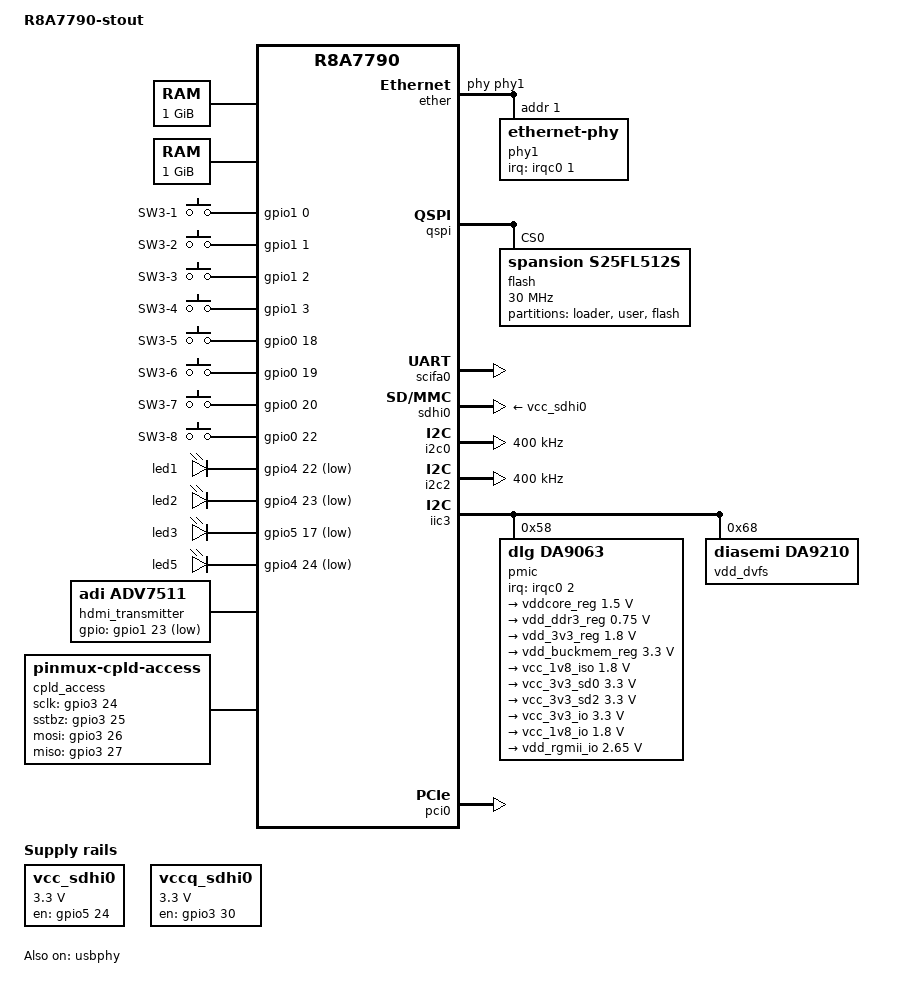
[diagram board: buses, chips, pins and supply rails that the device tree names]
/*
 * Device Tree Source for the R8A7790-stout board
 *
 * Copyright (C) 2015 Renesas Electronics Europe GmbH
 * Copyright (C) 2015 Renesas Electronics Corporation
 * Copyright (C) 2015 Cogent Embedded, Inc.
 *
 * This file is licensed under the terms of the GNU General Public License
 * version 2.  This program is licensed "as is" without any warranty of any
 * kind, whether express or implied.
 */

/dts-v1/;
#include "r8a7790.dtsi"
#include <dt-bindings/gpio/gpio.h>
#include <dt-bindings/input/input.h>

/ {
	model = "R8A7790-stout";
	compatible = "renesas,r8a7790stout", "renesas,r8a7790";

	aliases {
		serial0 = &scifa0;
	};

	chosen {
		bootargs = "console=ttySC0,38400 ignore_loglevel rw root=/dev/nfs ip=dhcp vmalloc=384M video=HDMI-A-1:1024x768-32@60";
	};

	memory@40000000 {
		device_type = "memory";
		reg = <0 0x40000000 0 0x40000000>;
	};

	memory@200000000 {
		device_type = "memory";
		reg = <2 0x00000000 0 0x40000000>;
	};

	lbsc {
		#address-cells = <1>;
		#size-cells = <1>;
	};

	gpio-keys {
		compatible = "gpio-keys";

		button@1 {
			linux,code = <KEY_1>;
			label = "SW3-1";
			gpio-key,wakeup;
			debounce-interval = <20>;
			gpios = <&gpio1 0 GPIO_ACTIVE_HIGH>;
		};
		button@2 {
			linux,code = <KEY_2>;
			label = "SW3-2";
			gpio-key,wakeup;
			debounce-interval = <20>;
			gpios = <&gpio1 1 GPIO_ACTIVE_HIGH>;
		};
		button@3 {
			linux,code = <KEY_3>;
			label = "SW3-3";
			gpio-key,wakeup;
			debounce-interval = <20>;
			gpios = <&gpio1 2 GPIO_ACTIVE_HIGH>;
		};
		button@4 {
			linux,code = <KEY_4>;
			label = "SW3-4";
			gpio-key,wakeup;
			debounce-interval = <20>;
			gpios = <&gpio1 3 GPIO_ACTIVE_HIGH>;
		};
		button@5 {
			linux,code = <KEY_5>;
			label = "SW3-5";
			gpio-key,wakeup;
			debounce-interval = <20>;
			gpios = <&gpio0 18 GPIO_ACTIVE_HIGH>;
		};
		button@6 {
			linux,code = <KEY_6>;
			label = "SW3-6";
			gpio-key,wakeup;
			debounce-interval = <20>;
			gpios = <&gpio0 19 GPIO_ACTIVE_HIGH>;
		};
		button@7 {
			linux,code = <KEY_7>;
			label = "SW3-7";
			gpio-key,wakeup;
			debounce-interval = <20>;
			gpios = <&gpio0 20 GPIO_ACTIVE_HIGH>;
		};
		button@8 {
			linux,code = <KEY_8>;
			label = "SW3-8";
			gpio-key,wakeup;
			debounce-interval = <20>;
			gpios = <&gpio0 22 GPIO_ACTIVE_HIGH>;
		};
	};

	leds {
		compatible = "gpio-leds";
		led1 {
			gpios = <&gpio4 22 GPIO_ACTIVE_LOW>;
		};
		led2 {
			gpios = <&gpio4 23 GPIO_ACTIVE_LOW>;
		};
		led3 {
			gpios = <&gpio5 17 GPIO_ACTIVE_LOW>;
		};
		led5 {
			gpios = <&gpio4 24 GPIO_ACTIVE_LOW>;
		};
	};

	vcc_sdhi0: regulator@1 {
		compatible = "regulator-fixed";

		regulator-name = "SDHI0 Vcc";
		regulator-min-microvolt = <3300000>;
		regulator-max-microvolt = <3300000>;

		gpio = <&gpio5 24 GPIO_ACTIVE_HIGH>;
		enable-active-high;
	};

	vccq_sdhi0: regulator@2 {
		compatible = "regulator-fixed";

		regulator-name = "SDHI0 VccQ";
		regulator-min-microvolt = <3300000>;
		regulator-max-microvolt = <3300000>;

		gpio = <&gpio3 30 GPIO_ACTIVE_HIGH>;
		enable-active-high;
	};

	hdmi_transmitter: adv7511 {
		compatible = "adi,adv7511";
		gpios = <&gpio1 23 GPIO_ACTIVE_LOW>;

		adi,reg = <0x39>;
		adi,input-style = <0x02>;
		adi,input-id = <0x00>;
		adi,input-color-depth = <0x03>;
		adi,sync-pulse = <0x03>;
		adi,bit-justification = <0x01>;
		adi,up-conversion = <0x00>;
		adi,timing-generation-sequence = <0x00>;
		adi,vsync-polarity = <0x02>;
		adi,hsync-polarity = <0x02>;
		adi,clock-delay = <0x03>;
	};

	cpld_access: cpld {
		compatible = "pinmux-cpld-access";

		pinmux-cpld-access,sclk-gpio = <&gpio3 24 GPIO_ACTIVE_HIGH>;
		pinmux-cpld-access,sstbz-gpio = <&gpio3 25 GPIO_ACTIVE_HIGH>;
		pinmux-cpld-access,mosi-gpio = <&gpio3 26 GPIO_ACTIVE_HIGH>;
		pinmux-cpld-access,miso-gpio = <&gpio3 27 GPIO_ACTIVE_HIGH>;
	};
};

&extal_clk {
	clock-frequency = <20000000>;
};

&pfc {
	pinctrl-0 = <&du_pins &du0_pins &usb0_pins &vin0_pins>;
	pinctrl-names = "default";

	du_pins: du {
		renesas,groups = "du_rgb888", "du_sync_1", "du_clk_out_0";
		renesas,function = "du";
	};

	du0_pins: du0 {
		renesas,groups = "du0_clk_in";
		renesas,function = "du0";
	};

	scifa0_pins: serial0 {
		renesas,groups = "scifa0_data_b", "scifa0_clk_b";
		renesas,function = "scifa0";
	};

	ether_pins: ether {
		renesas,groups = "eth_link", "eth_mdio", "eth_rmii";
		renesas,function = "eth";
	};

	phy1_pins: phy1 {
		renesas,groups = "intc_irq1";
		renesas,function = "intc";
	};

	sdhi0_pins: sd0 {
		renesas,groups = "sdhi0_data4", "sdhi0_ctrl", "sdhi0_cd";
		renesas,function = "sdhi0";
	};

	qspi_pins: spi0 {
		renesas,groups = "qspi_ctrl", "qspi_data4";
		renesas,function = "qspi";
	};

	i2c0_pins: i2c0 {
		renesas,groups = "i2c0";
		renesas,function = "i2c0";
	};

	i2c2_pins: i2c2 {
		renesas,groups = "i2c2_b";
		renesas,function = "i2c2";
	};

	iic3_pins: iic3 {
		renesas,groups = "iic3";
		renesas,function = "iic3";
	};

	vin0_pins: vin0 {
		renesas,groups = "vin0_b_data10", "vin0_sync_b", "vin0_clk_b";
		renesas,function = "vin0";
	};

	usb0_pins: usb0 {
		renesas,groups = "usb0", "usb0_ovc_vbus";
		renesas,function = "usb0";
	};
};

&ether {
	pinctrl-0 = <&ether_pins &phy1_pins>;
	pinctrl-names = "default";

	phy-handle = <&phy1>;
	renesas,ether-link-active-low;
	status = "okay";

	phy1: ethernet-phy@1 {
		reg = <1>;
		interrupt-parent = <&irqc0>;
		interrupts = <1 IRQ_TYPE_LEVEL_LOW>;
		micrel,led-mode = <1>;
	};
};

&qspi {
	pinctrl-0 = <&qspi_pins>;
	pinctrl-names = "default";

	status = "okay";

	flash: flash@0 {
		#address-cells = <1>;
		#size-cells = <1>;
		compatible = "spansion,s25fl512s";
		reg = <0>;
		spi-max-frequency = <30000000>;
		spi-tx-bus-width = <4>;
		spi-rx-bus-width = <4>;
		m25p,fast-read;
		spi-cpol;
		spi-cpha;

		partition@0 {
			label = "loader";
			reg = <0x00000000 0x00080000>;
			read-only;
		};
		partition@40000 {
			label = "user";
			reg = <0x00080000 0x00580000>;
			read-only;
		};
		partition@440000 {
			label = "flash";
			reg = <0x00600000 0x03a00000>;
		};
	};
};

&scifa0 {
	pinctrl-0 = <&scifa0_pins>;
	pinctrl-names = "default";
	status = "okay";
};

&sdhi0 {
	pinctrl-0 = <&sdhi0_pins>;
	pinctrl-names = "default";

	vmmc-supply = <&vcc_sdhi0>;
	vqmmc-supply = <&vccq_sdhi0>;
	status = "okay";
};

&cpu0 {
	cpu0-supply = <&vdd_dvfs>;
};

&i2c0 {
	pinctrl-0 = <&i2c0_pins>;
	pinctrl-names = "default";

	clock-frequency = <400000>;
	status = "okay";
};

&i2c2 {
	pinctrl-0 = <&i2c2_pins>;
	pinctrl-names = "default";

	clock-frequency = <400000>;
	status = "okay";
};

&iic3 {
	pinctrl-0 = <&iic3_pins>;
	pinctrl-names = "default";
	status = "okay";

	pmic@58 {
		compatible = "dlg,da9063";
		reg = <0x58>;
		interrupt-parent = <&irqc0>;
		interrupts = <2 IRQ_TYPE_LEVEL_LOW>;

		regulators {
			vddcore_reg: bcores-merged {
				regulator-min-microvolt = <1500000>;
				regulator-max-microvolt = <1500000>;
				regulator-always-on;
			};

			vdd_ddr3_reg: bpro {
				regulator-min-microvolt = <750000>;
				regulator-max-microvolt = <750000>;
				regulator-always-on;
			};

			vdd_3v3_reg: bperi {
				regulator-min-microvolt = <1800000>;
				regulator-max-microvolt = <1800000>;
				regulator-always-on;
			};


			vdd_buckmem_reg: bmem-bio-merged {
				regulator-min-microvolt = <3300000>;
				regulator-max-microvolt = <3300000>;
				regulator-always-on;
			};

			vcc_1v8_iso: ldo2 {
				regulator-min-microvolt = <1800000>;
				regulator-max-microvolt = <1800000>;
				regulator-always-on;
			};

			vcc_3v3_sd0: ldo3 {
				regulator-min-microvolt = <3300000>;
				regulator-max-microvolt = <3300000>;
				regulator-always-on;
			};

			vcc_3v3_sd2: ldo4 {
				regulator-min-microvolt = <3300000>;
				regulator-max-microvolt = <3300000>;
				regulator-always-on;
			};

			vcc_3v3_io: ldo5 {
				regulator-min-microvolt = <3300000>;
				regulator-max-microvolt = <3300000>;
				regulator-always-on;
			};

			vcc_1v8_io: ldo7 {
				regulator-min-microvolt = <1800000>;
				regulator-max-microvolt = <1800000>;
				regulator-always-on;
			};

			vdd_rgmii_io: ldo11 {
				regulator-min-microvolt = <2650000>;
				regulator-max-microvolt = <2650000>;
				regulator-boot-on;
				regulator-always-on;
			};
		};

		rtc {
			compatible = "dlg,da9063-rtc";
		};

		wdt {
			compatible = "dlg,da9063-watchdog";
		};
	};

	vdd_dvfs: regulator@68 {
		compatible = "diasemi,da9210";
		reg = <0x68>;

		regulator-min-microvolt = <1000000>;
		regulator-max-microvolt = <1000000>;
		regulator-boot-on;
		regulator-always-on;
	};
};

&usbphy {
	status = "okay";
};

&pci0 {
	pinctrl-0 = <&usb0_pins>;
	pinctrl-names = "default";
	status = "okay";
};
